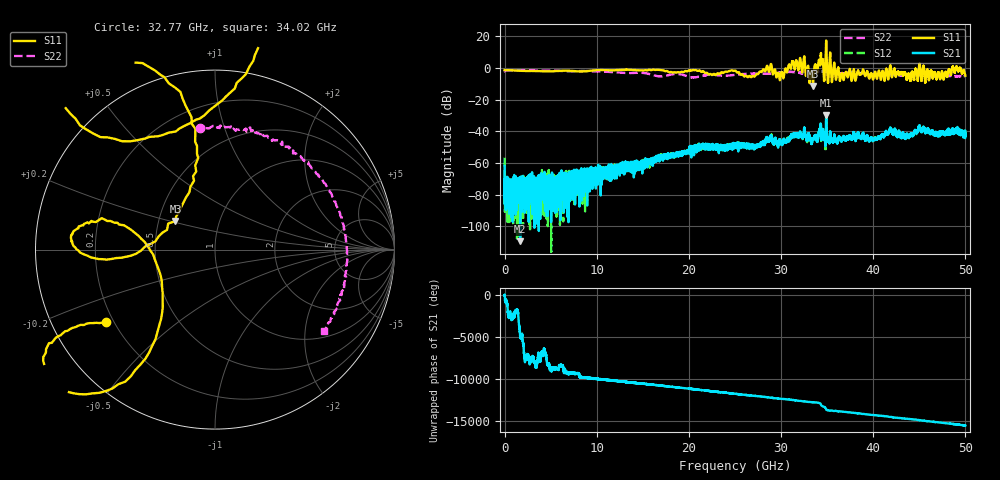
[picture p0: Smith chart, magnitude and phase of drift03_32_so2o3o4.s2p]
!Created with skrf (http://scikit-rf.org).
# Hz S RI R 50.0
!freq ReS11 ImS11 ReS21 ImS21 ReS12 ImS12 ReS22 ImS22
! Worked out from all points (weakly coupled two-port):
!   10001 points, 300 kHz to 50 GHz, reference 50 ohm
!   highest |S21| = -29.87 dB at 34.9 GHz (marker M1); lowest = -109.6 dB at 1.69 GHz (marker M2)
!   lowest |S11| = -11.3 dB at 33.47 GHz (marker M3), VSWR 1.75, Z = 30.6 + j10.5 ohm
!   |S11| at or under -10 dB: 33.44695 GHz to 33.48413 GHz (37.18 MHz wide, 0.111 % of centre)
!   |S22| runs from -5.9 to -1.3 dB; largest |S21 - S12| = 0.0082
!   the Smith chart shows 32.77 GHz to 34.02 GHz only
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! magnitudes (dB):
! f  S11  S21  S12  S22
! 300 kHz  -1.3  -61.8  -56.6  -2.0
! 255.3 MHz  -1.3  -70.6  -75.3  -1.4
! 1.69 GHz  -1.7  -109.6  -84.3  -1.4
! 8.335 GHz  -2.2  -67.0  -66.5  -1.9
! 16.67 GHz  -1.1  -55.5  -56.2  -5.2
! 25 GHz  -1.5  -50.5  -49.7  -4.3
! 26.92 GHz  -4.9  -48.8  -48.6  -3.6
! 28.73 GHz  -2.2  -46.0  -45.0  -3.5
! 30.06 GHz  -2.5  -47.6  -48.0  -2.8
! 31.87 GHz  -1.5  -42.1  -42.7  -2.9
! 33.34 GHz  -2.2  -48.0  -47.1  -2.9
! 33.47 GHz  -11.3  -45.0  -45.0  -2.8
! 34.3 GHz  7.2  -35.0  -35.5  -2.3
! 34.9 GHz  17.4  -29.9  -31.4  -2.3
! 36.58 GHz  -3.4  -45.6  -45.9  -3.6
! 40.15 GHz  -3.0  -44.8  -44.2  -3.7
! 41.67 GHz  -5.6  -40.9  -40.5  -3.7
! 43.64 GHz  -7.5  -41.4  -41.7  -3.9
! 45.21 GHz  -6.5  -39.9  -39.4  -4.5
! 47.06 GHz  -2.8  -42.9  -42.3  -5.1
! 49.21 GHz  -1.9  -37.8  -40.1  -5.2
! 50 GHz  -4.7  -42.7  -41.4  -5.0
